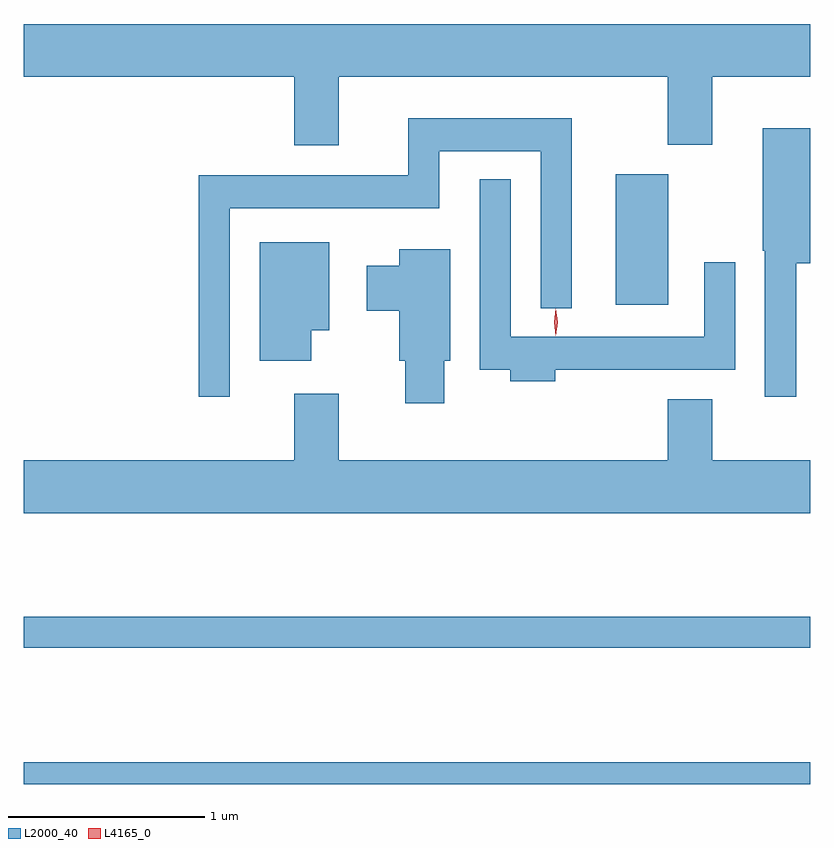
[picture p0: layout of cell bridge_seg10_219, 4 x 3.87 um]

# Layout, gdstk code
import gdstk
lib = gdstk.Library(unit=1e-6, precision=1e-09)
def R(c, l, rs):  # rectangles x0, y0, x1, y1
    for r in rs: c.add(gdstk.rectangle(r[:2], r[2:], *l))
def P(c, l, *ps):  # polygons
    for p in ps: c.add(gdstk.Polygon(p, *l))
L2000_40 = (2000, 40)
L4165_0 = (4165, 0)

bridge_seg10_219 = lib.new_cell('bridge_seg10_219')
R(bridge_seg10_219, L2000_40, [(1734.056,2092.558,1738.056,2092.669), (1734.056,2093.251,1738.056,2093.409), (1737.066,2094.996,1737.334,2095.659)])
P(bridge_seg10_219, L2000_40, [(1735.659,2096.156),(1737.331,2096.156),(1737.331,2095.811),(1737.559,2095.811),(1737.559,2096.156),(1738.056,2096.156),(1738.056,2096.424),(1734.056,2096.424),(1734.056,2096.156),(1735.431,2096.156),(1735.431,2095.806),(1735.659,2095.806)],
  [(1735.104,2095.486),(1736.169,2095.486),(1736.169,2095.776),(1736.686,2095.776),(1736.686,2094.978),(1736.844,2094.978),(1736.844,2095.944),(1736.011,2095.944),(1736.011,2095.654),(1734.946,2095.654),(1734.946,2094.528),(1735.104,2094.528)],
  [(1737.984,2095.206),(1738.056,2095.206),(1738.056,2095.894),(1737.816,2095.894),(1737.816,2095.27),(1737.826,2095.27),(1737.826,2094.528),(1737.984,2094.528)],
  [(1736.759,2094.666),(1737.674,2094.666),(1737.674,2095.213),(1737.516,2095.213),(1737.516,2094.834),(1736.534,2094.834),(1736.534,2095.633),(1736.376,2095.633),(1736.376,2094.666),(1736.531,2094.666),(1736.531,2094.606),(1736.759,2094.606)],
  [(1735.519,2094.866),(1735.609,2094.866),(1735.609,2095.314),(1735.256,2095.314),(1735.256,2094.711),(1735.519,2094.711)],
  [(1736.194,2094.711),(1736.224,2094.711),(1736.224,2095.279),(1735.966,2095.279),(1735.966,2095.194),(1735.801,2095.194),(1735.801,2094.966),(1735.966,2094.966),(1735.966,2094.711),(1735.996,2094.711),(1735.996,2094.496),(1736.194,2094.496)],
  [(1738.056,2094.204),(1737.559,2094.204),(1737.559,2094.514),(1737.331,2094.514),(1737.331,2094.204),(1735.659,2094.204),(1735.659,2094.544),(1735.431,2094.544),(1735.431,2094.204),(1734.056,2094.204),(1734.056,2093.936),(1738.056,2093.936)])
P(bridge_seg10_219, L4165_0, [(1736.762,2094.837),(1736.753,2094.907),(1736.762,2094.976),(1736.763,2094.976),(1736.763,2094.976),(1736.773,2094.907),(1736.763,2094.837),(1736.763,2094.837)])

lib.write_gds('bridge_seg10_219.gds')
